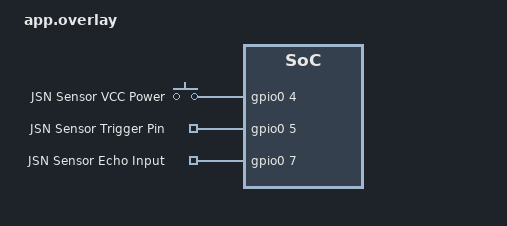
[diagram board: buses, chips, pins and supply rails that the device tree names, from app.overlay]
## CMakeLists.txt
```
# SPDX-License-Identifier: Apache-2.0

cmake_minimum_required(VERSION 3.20.0)

include(FetchContent)

find_package(Zephyr REQUIRED HINTS $ENV{ZEPHYR_BASE})
project(edge)

FetchContent_Declare(
  fmt
  GIT_REPOSITORY https://github.com/fmtlib/fmt
  GIT_TAG        e69e5f977d458f2650bb346dadf2ad30c5320281) # 10.2.1
FetchContent_MakeAvailable(fmt)

target_include_directories(app PRIVATE src)
target_include_directories(app PRIVATE ../)
target_link_libraries(app PRIVATE fmt::fmt)

target_sources(app PRIVATE
    src/main.cpp
    ../common/coap_utils.c
)

include(${ZEPHYR_BASE}/samples/net/common/common.cmake)

set(gen_dir ${ZEPHYR_BINARY_DIR}/include/generated/)
```

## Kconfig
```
# Config options for OpenThread Border CoAP sample app

# Copyright (c) 2024 Alexandre Bailon
# SPDX-License-Identifier: Apache-2.0

mainmenu "OpenThread CoAP Sample"

menu "Application configuration"

config OT_COAP_SAMPLE_SERVER
	bool "Build the sample CoAP server application"

config OT_COAP_SAMPLE_LED
	bool "Enable LED support"
	default y

config OT_COAP_SAMPLE_SW
	bool "Enable switch support"
	default y

config ENABLE_FAULT_INJECTION
	bool "Enable integration test injection"
	default n

config SECURE_SIGN
	bool "Enable secure signing with HUK"
	default n

endmenu

source "Kconfig.zephyr"
```

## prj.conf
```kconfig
CONFIG_NETWORKING=y
CONFIG_NET_L2_OPENTHREAD=y
CONFIG_OPENTHREAD_COAP=y
CONFIG_OPENTHREAD_SLAAC=y
CONFIG_OPENTHREAD_TIME_SYNC=y
CONFIG_JSON_LIBRARY=y

# Logging
CONFIG_LOG=y
# (optional)
CONFIG_LOG_MAX_LEVEL=4
CONFIG_LOG_MODE_MINIMAL=y
CONFIG_BOOT_BANNER=y
CONFIG_LOG_BACKEND_UART=y
CONFIG_LOG_MODE_DEFERRED=y

# Kernel options
CONFIG_MAIN_STACK_SIZE=8192
CONFIG_SYSTEM_WORKQUEUE_STACK_SIZE=8192
CONFIG_INIT_STACKS=y

# SSED / CSL Activation
CONFIG_OPENTHREAD_MTD=y
CONFIG_OPENTHREAD_MTD_SED=y
CONFIG_OPENTHREAD_CSL_RECEIVER=y
CONFIG_OPENTHREAD_CSL_RECEIVER_LOCAL_TIME_SYNC=y
CONFIG_OPENTHREAD_CSL_AUTO_SYNC=y
CONFIG_OPENTHREAD_CSL_TIMEOUT=100
CONFIG_OPENTHREAD_MANUAL_START=y

# Network config
CONFIG_OPENTHREAD_PANID=4660
CONFIG_OPENTHREAD_XPANID="11:11:11:11:22:22:22:22"
CONFIG_OPENTHREAD_NETWORKKEY="00:11:22:33:44:55:66:77:88:99:aa:bb:cc:dd:ee:ff"
CONFIG_OPENTHREAD_CHANNEL=15
CONFIG_OPENTHREAD_NETWORK_NAME="JSN-SR04 Sensor"

# Flash and persistence
CONFIG_FLASH=y
CONFIG_FLASH_MAP=y
CONFIG_NVS=y
CONFIG_SETTINGS=y

# Config for C++
CONFIG_CPP=y
CONFIG_STD_CPP23=y
CONFIG_GLIBCXX_LIBCPP=y

# MBEDTLS stuff
CONFIG_MBEDTLS=y
CONFIG_MBEDTLS_ENABLE_HEAP=y
CONFIG_MBEDTLS_HEAP_SIZE=16384
CONFIG_HEAP_MEM_POOL_SIZE=16384

# Enable PSA features for keys.
CONFIG_PSA_WANT_ALG_ECDSA=y
CONFIG_PSA_WANT_ALG_SHA_256=y
CONFIG_PSA_WANT_ECC_SECP_R1_256=y
CONFIG_PSA_WANT_KEY_TYPE_ECC_KEY_PAIR_GENERATE=y
CONFIG_PSA_WANT_KEY_TYPE_ECC_KEY_PAIR_EXPORT=y
CONFIG_PSA_WANT_KEY_TYPE_ECC_PUBLIC_KEY=y

CONFIG_BUILD_WITH_TFM=y

CONFIG_SECURE_BOOT=n
CONFIG_TFM_PROFILE_TYPE_MINIMAL=y

CONFIG_HWINFO=y
```

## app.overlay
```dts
/ {
    jsn_sensor {
        /* Zephyr GPIO definitions for JSN-SR04T */
        compatible = "gpio-keys";

        jsn_pwr: jsn_pwr {
            gpios = <&gpio0 4 GPIO_ACTIVE_HIGH>;
            label = "JSN Sensor VCC Power";
        };

        jsn_trig: jsn_trig {
            gpios = <&gpio0 5 GPIO_ACTIVE_HIGH>;
            label = "JSN Sensor Trigger Pin";
        };

        jsn_echo: jsn_echo {
            gpios = <&gpio0 7 GPIO_ACTIVE_HIGH>;
            label = "JSN Sensor Echo Input";
        };
    };
};
```

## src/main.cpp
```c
#define ENABLE_FAULT_INJECTION 1

#include "common/coap_utils.h"
#include "common/logging.hpp"
#include "common/provisioned_key_setup.hpp"
#include "edge.hpp"
#include "fog/build/fog/tfm/api_ns/interface/include/psa/crypto.h"
#include "openthread.h"
#include <openthread/error.h>
#include <openthread/link.h>
#include <openthread/thread.h>
#include <optional>

namespace {

/** @brief The main application, delay construction. */
std::optional<edge::Edge> App;

auto *get_app() { return App.has_value() ? &App.value() : nullptr; }

/** @brief Flag to handle reattaching to openthread network. */
bool s_initialised = false;

/**
 * @brief OpenThread state change callback.
 * @param flags Flags to check on state change.
 * @param user_data unused.
 */
void on_thread_state_changed(otChangedFlags flags, void *user_data) {

  ARG_UNUSED(user_data);

  otInstance *const inst = openthread_get_default_instance();

  if ((flags & OT_CHANGED_THREAD_ROLE) != 0) {
    const otDeviceRole role = otThreadGetDeviceRole(inst);
    switch (role) {
    case OT_DEVICE_ROLE_CHILD:
    case OT_DEVICE_ROLE_ROUTER:
    case OT_DEVICE_ROLE_LEADER:
      // We have a valid role so start.
      logging::wrn("Device attached to thread network.");
      if (!s_initialised) {
        get_app()->init();
        s_initialised = true;
      }
      break;

    case OT_DEVICE_ROLE_DISABLED:
    case OT_DEVICE_ROLE_DETACHED:
    default:
      logging::wrn("Device detached from thread network.");
      break;
    }
  }
}

constexpr std::uint32_t CSL_PERIOD_US = 30000000;
constexpr std::uint32_t CSL_TIMEOUT_S = 20;

/**
 * @brief CSL needs enabling before openthread is started. Set the CSL window
 * and disable active poling.
 */
int csl_setup() {

  otInstance *const inst = openthread_get_default_instance();

  // Disable polling.
  otError err = otLinkSetPollPeriod(inst, 0);
  if (err != OT_ERROR_NONE) {
    logging::err("Failed to to disable poll period: {}",
                 otThreadErrorToString(err));
    return -1;
  }

  // Enable CSL.
  err = otLinkSetCslPeriod(inst, CSL_PERIOD_US);
  if (err != OT_ERROR_NONE) {
    logging::err("Failed to to set CSL period: {}", otThreadErrorToString(err));
    return -1;
  }

  err = otLinkSetCslTimeout(inst, CSL_TIMEOUT_S);
  if (err != OT_ERROR_NONE) {
    logging::err("Failed to to set CSL timout period: {}",
                 otThreadErrorToString(err));
    return -1;
  }

  return 0;
}

/**
 * @brief State change callback structure, used to register to callback with
 * openthread.
 */
struct openthread_state_changed_callback s_ot_state_chaged_cb = {
    .otCallback = on_thread_state_changed};

} // namespace

int main(void) {

  if (const auto err = coap_init(); err != 0) {
    logging::err("Failed to initialise CoAP");
    return err;
  }

  if (const auto err = csl_setup(); err != 0) {
    logging::err("Failed to initialise CSL");
    return err;
  }

  psa_crypto_init();

  App.emplace();

  openthread_state_changed_callback_register(&s_ot_state_chaged_cb);
  openthread_run();
}
```

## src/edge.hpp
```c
#pragma once

#include "common/alert.hpp"
#include "common/logging.hpp"
#include "common/ot_utils.hpp"
#include "common/sensor_reading.hpp"
#include "config/config.hpp"
#include "jsn/driver.hpp"
#include "jsn/jsn_logic.hpp"
#include "sensor/sensor_coap.hpp"
#include "sensor/sensor_cycle.hpp"
#include <cstdint>

namespace edge {

/**
 * @brief The main application, wires up the components and initialises them.
 */
class Edge {

  /**
   * @brief Fetch GPIO specs from Devicetree overlay, used for the physical pins
   * on the dev kit.
   */
  static constexpr struct gpio_dt_spec PWR_PIN =
      GPIO_DT_SPEC_GET(DT_NODELABEL(jsn_pwr), gpios);
  static constexpr struct gpio_dt_spec TRIG_PIN =
      GPIO_DT_SPEC_GET(DT_NODELABEL(jsn_trig), gpios);
  static constexpr struct gpio_dt_spec ECHO_PIN =
      GPIO_DT_SPEC_GET(DT_NODELABEL(jsn_echo), gpios);

  static constexpr std::uint32_t S_TO_MS = 1000;

public:
  /**
   * @brief Initialise the application.
   */
  void init() {
    m_sensor_coap.init();
    m_alert_handler.init();
    if (!m_jsn_driver.init()) {
      logging::err("Failed to start the sensor, aborting app.");
    }
    m_sensor_cycle.start();
  }

  /**
   * @brief The sensor callback, calculate the validity and send the data onto
   * CoAP.
   * @param valid
   * @param raw_mm
   * @param ground_dist
   */
  void send_sensor_reading(const bool valid, const std::uint16_t raw_mm,
                           const std::uint16_t ground_dist) {
    logging::inf("New reading: .is_ready={}, .raw_mm={}, .ground_mm={}", valid,
                 raw_mm, ground_dist);
    const auto reading = jsn::calculate_reading(valid, raw_mm, ground_dist);
    (void)m_sensor_coap.send_sensor_data(reading);
  }

private:
  /** @brief JSN-SR04T driver for communicating with sensor hardware. */
  jsn::Driver m_jsn_driver{PWR_PIN, TRIG_PIN, ECHO_PIN};

  /** @brief The main sensor task, loops every sleep_interval_s. Initialise
   * callbacks inline. */
  sensor::SensorCycle m_sensor_cycle{
      m_jsn_driver, sensor::SensorCycleParams{
                        .sleep_interval_ms =
                            [this] {
                              return m_alert.m_alert_active
                                         ? m_alert.m_alert_interval_ms
                                         : config::SLEEP_MS;
                            },
                        .emit_reading =
                            [this](const bool valid, const std::uint16_t raw_mm,
                                   const std::uint16_t ground_dist) {
                              send_sensor_reading(valid, raw_mm, ground_dist);
                            }}};

  /** @brief CoAP service for sending sensor data back to the fog node. */
  sensor::CoapService m_sensor_coap{common::MESH_LOCAL_MULTICAST_ADDR,
                                    common::SENSOR_URI};

  /** @brief Handle an alert message from the fog layer. */
  common::Alert m_alert_handler{[this](const auto alert) { m_alert = alert; }};

  /** @brief stored alert packet. */
  common::Alert::AlertPacket m_alert;
};

} // namespace edge
```
